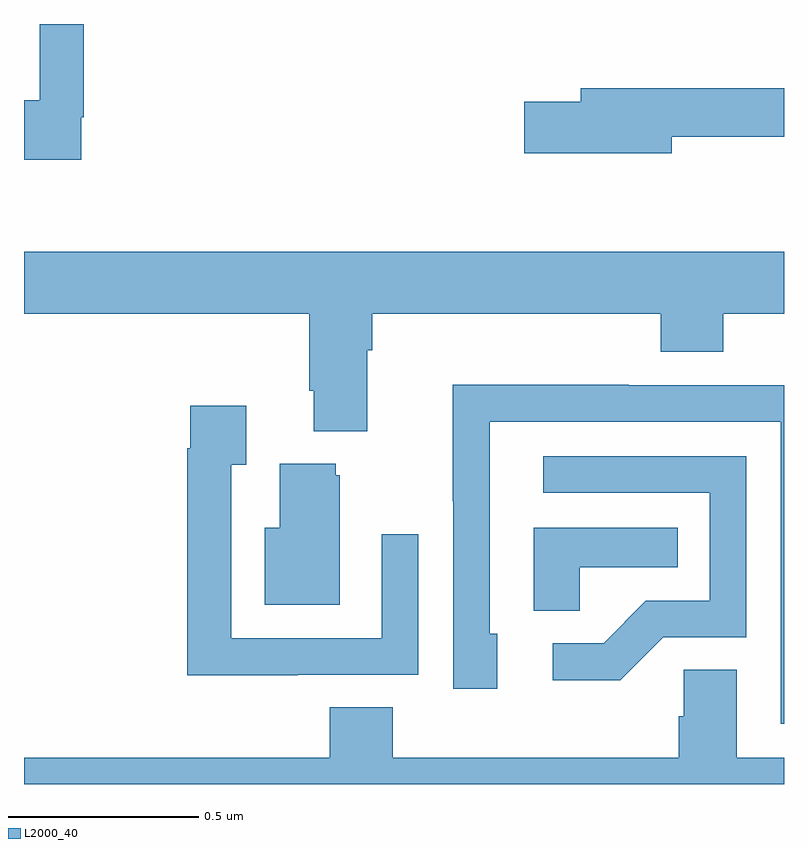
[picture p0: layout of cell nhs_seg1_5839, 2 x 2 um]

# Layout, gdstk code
import gdstk
lib = gdstk.Library(unit=1e-6, precision=1e-09)
def P(c, l, *ps):  # polygons
    for p in ps: c.add(gdstk.Polygon(p, *l))
L2000_40 = (2000, 40)

nhs_seg1_5839 = lib.new_cell('nhs_seg1_5839')
P(nhs_seg1_5839, L2000_40, [(184.15,514.954),(184.157,514.954),(184.157,515.199),(184.041,515.199),(184.041,514.998),(184.001,514.998),(184.001,514.842),(184.15,514.842)],
  [(185.704,514.902),(186,514.902),(186,515.03),(185.465,515.03),(185.465,514.994),(185.316,514.994),(185.316,514.859),(185.704,514.859)],
  [(184,514.436),(184.751,514.436),(184.751,514.234),(184.763,514.234),(184.763,514.127),(184.903,514.127),(184.903,514.34),(184.916,514.34),(184.916,514.436),(185.675,514.436),(185.675,514.337),(185.84,514.337),(185.84,514.436),(186,514.436),(186,514.6),(184,514.6)],
  [(186,514.248),(185.591,514.248),(185.591,514.25),(185.128,514.25),(185.128,513.943),(185.13,513.943),(185.13,513.45),(185.245,513.45),(185.245,513.594),(185.226,513.594),(185.226,514.152),(185.991,514.152),(185.991,513.357),(186,513.357)],
  [(184.721,513.486),(185.037,513.486),(185.037,513.856),(184.941,513.856),(184.941,513.582),(184.545,513.582),(184.545,514.039),(184.585,514.039),(184.585,514.195),(184.437,514.195),(184.437,514.082),(184.429,514.082),(184.429,513.485),(184.721,513.485)],
  [(185.682,513.585),(185.901,513.585),(185.901,514.062),(185.367,514.062),(185.367,513.966),(185.805,513.966),(185.805,513.681),(185.636,513.681),(185.525,513.57),(185.391,513.57),(185.391,513.472),(185.569,513.472)],
  [(184.831,514.011),(184.82,514.011),(184.82,514.042),(184.673,514.042),(184.673,513.874),(184.634,513.874),(184.634,513.671),(184.831,513.671)],
  [(185.463,513.77),(185.72,513.77),(185.72,513.874),(185.342,513.874),(185.342,513.655),(185.463,513.655)],
  [(186,513.268),(185.875,513.268),(185.875,513.5),(185.736,513.5),(185.736,513.377),(185.723,513.377),(185.723,513.268),(184.97,513.268),(184.97,513.401),(184.805,513.401),(184.805,513.268),(184,513.268),(184,513.199),(186,513.199)])

lib.write_gds('nhs_seg1_5839.gds')
